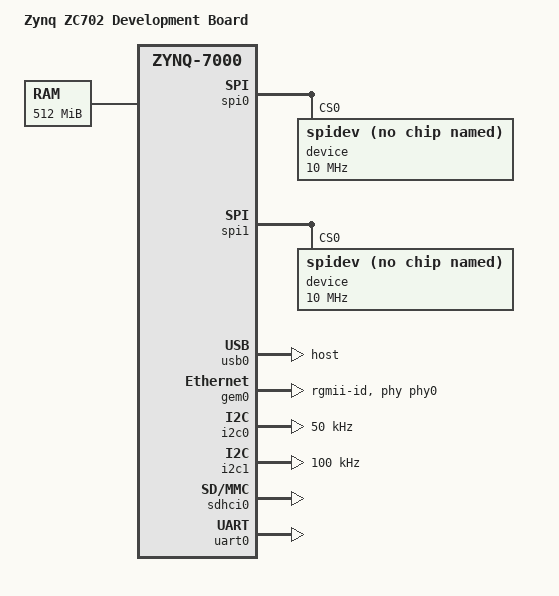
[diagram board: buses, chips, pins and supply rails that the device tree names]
/*
 *  Copyright (C) 2011 - 2014 Xilinx
 *  Copyright (C) 2012 National Instruments Corp.
 *
 * This software is licensed under the terms of the GNU General Public
 * License version 2, as published by the Free Software Foundation, and
 * may be copied, distributed, and modified under those terms.
 *
 * This program is distributed in the hope that it will be useful,
 * but WITHOUT ANY WARRANTY; without even the implied warranty of
 * MERCHANTABILITY or FITNESS FOR A PARTICULAR PURPOSE.  See the
 * GNU General Public License for more details.
 */
/dts-v1/;
/include/ "zynq-7000.dtsi"

/ {
	model = "Zynq ZC702 Development Board";
	compatible = "xlnx,zynq-zc702", "xlnx,zynq-7000";

	aliases {
		ethernet0 = &gem0;
		serial0 = &uart0;
		spi0 = &spi0;
		spi1 = &spi1;
		i2c0 = &i2c0;
		i2c1 = &i2c1;
	};

	memory {
		device_type = "memory";
		reg = <0x0 0x20000000>;
	};

	chosen {
		bootargs = "console=ttyPS0,115200 root=/dev/ram rw
			ip=192.168.1.10:::255.255.255.0:ZC702:eth0 earlyprintk";
		linux,stdout-path = "/amba/serial@e0000000";
	};

};

&spi0 {
	status = "okay";
	num-cs = <1>;
	device@0 {
		#address-cells = <1>;
		#size-cells = <0>;
		compatible = "spidev";
		spi-cpha;
		reg = <0x0>;
		spi-max-frequency = <10000000>;
	};
};
&spi1 {
	status = "okay";
	num-cs = <1>;
	device@0 {
		#address-cells = <1>;
		#size-cells = <0>;
		compatible = "spidev";
		spi-cpha;
		reg = <0x0>;
		spi-max-frequency = <10000000>;
	};
};


&usb0 {
	status = "okay";
	dr_mode = "host";
	phy_type = "ulpi";
	usb-reset = <&gpio0 15 0>;
};

&gem0 {
	status = "okay";
	phy-mode = "rgmii-id";
	phy-handle = <&phy0>;

	phy0: phy@7 {
		//reg = <7>;
	};
};

&i2c0 {
	status = "okay";
	clock-frequency = <50000>;
};

&i2c1 {
	status = "okay";
	clock-frequency = <100000>;
};


&sdhci0 {
	status = "okay";
};

&uart0 {
	status = "okay";
};
/*
&smcc {
	status = "okay";
	arm,addr25 = <0x0>;
	arm,nor-chip-sel0 = <0x0>;
	arm,nor-chip-sel1 = <0x0>;
	arm,sram-chip-sel0 = <0x0>;
	arm,sram-chip-sel1 = <0x0>;
};
&nand0 {
	status = "okay";
	arm,nand-cycle-t0 = <0x4>;
	arm,nand-cycle-t1 = <0x4>;
	arm,nand-cycle-t2 = <0x1>;
	arm,nand-cycle-t3 = <0x2>;
	arm,nand-cycle-t4 = <0x2>;
	arm,nand-cycle-t5 = <0x2>;
	arm,nand-cycle-t6 = <0x4>;
	partition@nand-android {
		label = "nand-android";
		reg = <0x0 0x20000000>;
	};
};*/
